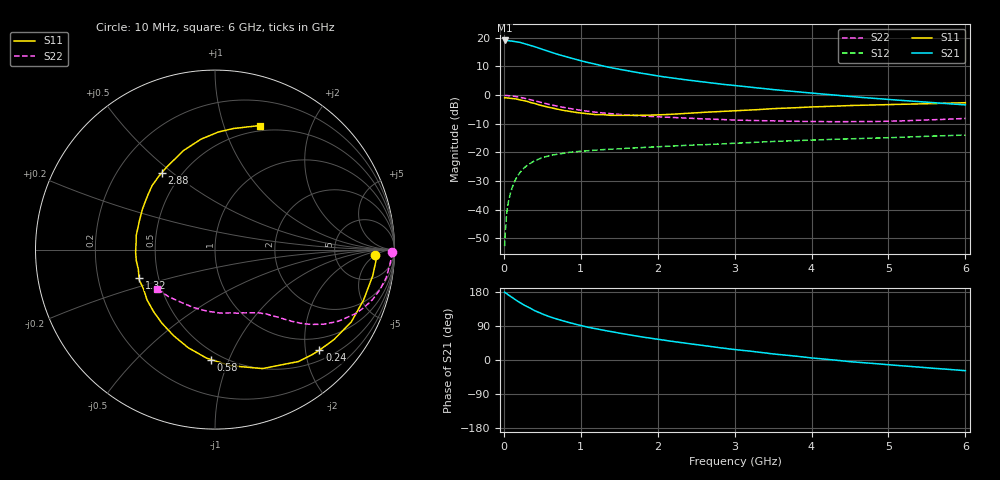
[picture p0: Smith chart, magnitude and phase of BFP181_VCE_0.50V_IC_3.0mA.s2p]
! Infineon Technologies  Discrete & RF Semiconductors
! BFP181
! VCE = 0.50V,  IC =  3.0 mA
! Common Emitter S-Parameters:  Jan 2016
# GHz  S  MA  R  50
!  f  S11  S21  S12  S22
! GHz  MAG  ANG  MAG  ANG  MAG  ANG  MAG  ANG
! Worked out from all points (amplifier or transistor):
!   210 points, 10 MHz to 6 GHz, reference 50 ohm
!   highest |S21| = 19.1 dB at 10 MHz (marker M1)
!   |S21| within 3 dB of that: start of sweep to 489.5 MHz
!   unconditionally stable (mu >= 1): 1.548 GHz to end of sweep
!   at 185 MHz: K = 0.16, MSG = 23.3 dB, |S12| = -28.0 dB
!   at 1.52 GHz: K = 0.99, MSG = 13.8 dB, |S12| = -18.7 dB
!   at 6 GHz: K = 1.33, MAG = 1.8 dB, |S12| = -14.0 dB
!   S11 on the Smith chart (normalised r, x): 10 MHz: 16, -5; 240 MHz: 0.71, -2.29; 580 MHz: 0.44, -0.86; 1.32 GHz: 0.39, -0.15; 2.88 GHz: 0.39, +0.46; 6 GHz: 0.44, +1.33
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0.01  0.8937 -2.1  8.974 178.9  0.0023 84.7  0.984 -0.8
0.035  0.8939 -6.6  8.938 175.3  0.0079 85.9  0.9818 -3.3
0.075  0.8794 -14.1  8.84 169.5  0.017 80.6  0.9719 -7.0
0.15  0.8597 -28.0  8.561 159.1  0.0332 73.0  0.9463 -13.5
0.2  0.8312 -37.1  8.372 152.6  0.0427 68.8  0.9211 -17.6
0.24  0.8078 -43.9  8.074 147.6  0.0496 64.9  0.8955 -20.6
0.3  0.7778 -53.3  7.683 141.3  0.0589 60.0  0.8592 -24.6
0.4  0.7135 -68.3  6.999 130.3  0.0712 52.8  0.7954 -30.1
0.5  0.6522 -82.5  6.286 121.3  0.0808 47.0  0.7342 -34.5
0.58  0.6132 -92.0  5.818 115.4  0.0867 43.3  0.6908 -37.1
0.7  0.567 -105.2  5.129 107.3  0.0931 38.9  0.6363 -40.3
0.8  0.5324 -115.6  4.713 101.3  0.098 36.1  0.6006 -42.2
1.02  0.4824 -136.4  3.905 90.0  0.1047 31.3  0.5367 -45.7
1.1  0.4714 -143.4  3.688 86.2  0.1071 30.0  0.5189 -46.7
1.32  0.4516 -159.8  3.145 77.7  0.1122 26.9  0.4823 -49.4
1.6  0.4426 -178.2  2.667 67.5  0.1181 24.7  0.4508 -52.4
2.02  0.4513 158.7  2.136 54.2  0.1257 22.9  0.4167 -57.7
2.88  0.521 124.6  1.524 30.6  0.1415 18.8  0.3719 -72.0
3.1  0.5386 118.1  1.42 25.6  0.1459 17.7  0.3627 -76.3
4.1  0.6258 95.4  1.053 3.7  0.1655 12.4  0.344 -99.6
5.1  0.6859 80.3  0.819 -14.1  0.1818 7.5  0.3515 -124.9
6  0.7349 70.1  0.673 -28.2  0.2004 2.5  0.3908 -146.1
